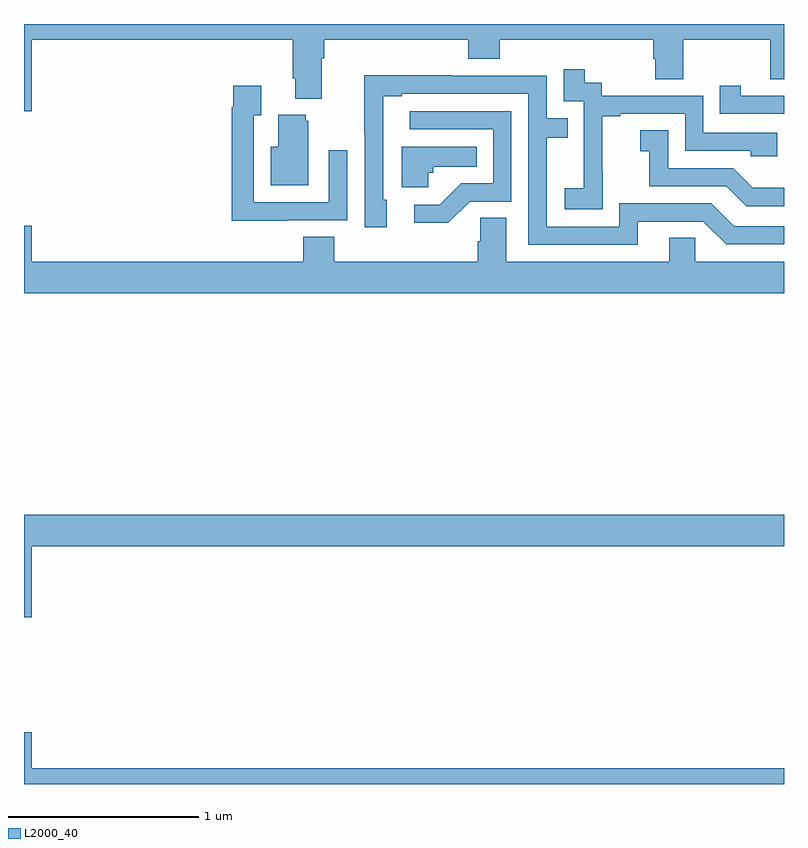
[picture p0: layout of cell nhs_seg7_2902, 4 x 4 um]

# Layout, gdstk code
import gdstk
lib = gdstk.Library(unit=1e-6, precision=1e-09)
def P(c, l, *ps):  # polygons
    for p in ps: c.add(gdstk.Polygon(p, *l))
L2000_40 = (2000, 40)

nhs_seg7_2902 = lib.new_cell('nhs_seg7_2902')
P(nhs_seg7_2902, L2000_40, [(297.04,1033.916),(298.415,1033.916),(298.415,1033.714),(298.427,1033.714),(298.427,1033.607),(298.567,1033.607),(298.567,1033.82),(298.58,1033.82),(298.58,1033.916),(299.339,1033.916),(299.339,1033.817),(299.504,1033.817),(299.504,1033.916),(300.311,1033.916),(300.311,1033.818),(300.323,1033.818),(300.323,1033.708),(300.471,1033.708),(300.471,1033.916),(300.928,1033.916),(300.928,1033.708),(301,1033.708),(301,1034),(297,1034),(297,1033.542),(297.04,1033.542)],
  [(300.045,1033.231),(300.044,1033.231),(300.044,1033.515),(300.139,1033.515),(300.139,1033.527),(300.48,1033.527),(300.48,1033.332),(300.825,1033.332),(300.825,1033.305),(300.965,1033.305),(300.965,1033.428),(300.576,1033.428),(300.576,1033.623),(300.042,1033.623),(300.042,1033.692),(299.95,1033.692),(299.95,1033.762),(299.841,1033.762),(299.841,1033.593),(299.946,1033.593),(299.946,1033.364),(299.945,1033.364),(299.945,1033.135),(299.847,1033.135),(299.847,1033.025),(300.045,1033.025)],
  [(300.229,1032.96),(300.576,1032.96),(300.696,1032.84),(301,1032.84),(301,1032.936),(300.738,1032.936),(300.618,1033.056),(300.132,1033.056),(300.132,1032.933),(299.751,1032.933),(299.751,1033.402),(299.861,1033.402),(299.861,1033.503),(299.751,1033.503),(299.751,1033.728),(299.255,1033.728),(299.255,1033.73),(298.792,1033.73),(298.792,1033.423),(298.794,1033.423),(298.794,1032.93),(298.909,1032.93),(298.909,1033.074),(298.89,1033.074),(298.89,1033.62),(298.987,1033.62),(298.987,1033.632),(299.655,1033.632),(299.655,1032.837),(300.229,1032.837)],
  [(298.385,1032.966),(298.701,1032.966),(298.701,1033.336),(298.605,1033.336),(298.605,1033.062),(298.209,1033.062),(298.209,1033.519),(298.249,1033.519),(298.249,1033.675),(298.101,1033.675),(298.101,1033.562),(298.093,1033.562),(298.093,1032.965),(298.385,1032.965)],
  [(301,1033.623),(300.772,1033.623),(300.772,1033.675),(300.661,1033.675),(300.661,1033.527),(301,1033.527)],
  [(299.346,1033.065),(299.565,1033.065),(299.565,1033.542),(299.031,1033.542),(299.031,1033.446),(299.469,1033.446),(299.469,1033.161),(299.3,1033.161),(299.189,1033.05),(299.055,1033.05),(299.055,1032.953),(299.233,1032.953)],
  [(298.495,1033.491),(298.484,1033.491),(298.484,1033.522),(298.337,1033.522),(298.337,1033.354),(298.298,1033.354),(298.298,1033.151),(298.495,1033.151)],
  [(301,1033.138),(300.836,1033.138),(300.732,1033.242),(300.39,1033.242),(300.39,1033.441),(300.243,1033.441),(300.243,1033.331),(300.292,1033.331),(300.292,1033.146),(300.695,1033.146),(300.8,1033.041),(301,1033.041)],
  [(299.127,1033.218),(299.154,1033.218),(299.154,1033.25),(299.384,1033.25),(299.384,1033.354),(298.988,1033.354),(298.988,1033.142),(299.127,1033.142)],
  [(301,1032.748),(300.534,1032.748),(300.534,1032.875),(300.395,1032.875),(300.395,1032.748),(299.539,1032.748),(299.539,1032.98),(299.4,1032.98),(299.4,1032.857),(299.387,1032.857),(299.387,1032.748),(298.634,1032.748),(298.634,1032.881),(298.469,1032.881),(298.469,1032.748),(297.04,1032.748),(297.04,1032.937),(297,1032.937),(297,1032.584),(301,1032.584)],
  [(297.04,1031.252),(301,1031.252),(301,1031.416),(297,1031.416),(297,1030.878),(297.04,1030.878)],
  [(297.04,1030.273),(297,1030.273),(297,1030),(301,1030),(301,1030.084),(297.04,1030.084)])

lib.write_gds('nhs_seg7_2902.gds')
